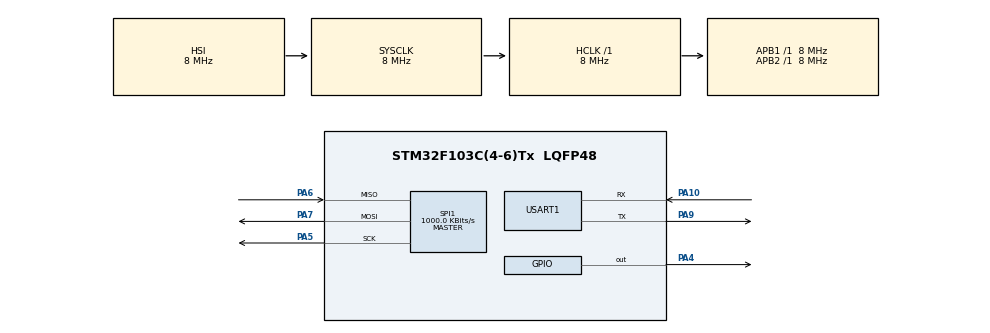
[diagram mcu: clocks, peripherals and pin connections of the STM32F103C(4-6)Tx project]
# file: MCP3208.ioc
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Mcu.Family=STM32F1
Mcu.Name=STM32F103C(4-6)Tx
Mcu.Package=LQFP48
NVIC.PriorityGroup=NVIC_PRIORITYGROUP_4
PA10.Mode=Asynchronous
PA10.Signal=USART1_RX
PA4.Signal=GPIO_Output
PA5.Mode=Full_Duplex_Master
PA5.Signal=SPI1_SCK
PA6.Mode=Full_Duplex_Master
PA6.Signal=SPI1_MISO
PA7.Mode=Full_Duplex_Master
PA7.Signal=SPI1_MOSI
PA9.Mode=Asynchronous
PA9.Signal=USART1_TX
ProjectManager.HeapSize=0x200
ProjectManager.StackSize=0x400
ProjectManager.TargetToolchain=STM32CubeIDE
RCC.AHBFreq_Value=8000000
RCC.APB1Freq_Value=8000000
RCC.APB1TimFreq_Value=8000000
RCC.APB2Freq_Value=8000000
RCC.APB2TimFreq_Value=8000000
RCC.HCLKFreq_Value=8000000
RCC.PLLMUL=RCC_PLL_MUL4
RCC.SYSCLKFreq_VALUE=8000000
RCC.USBFreq_Value=16000000
SPI1.BaudRatePrescaler=SPI_BAUDRATEPRESCALER_8
SPI1.CLKPhase=SPI_PHASE_1EDGE
SPI1.CLKPolarity=SPI_POLARITY_LOW
SPI1.CalculateBaudRate=1000.0 KBits/s
SPI1.Direction=SPI_DIRECTION_2LINES
SPI1.FirstBit=SPI_FIRSTBIT_MSB
SPI1.Mode=SPI_MODE_MASTER
SPI1.VirtualType=VM_MASTER
USART1.VirtualMode=VM_ASYNC
VP_SYS_VS_ND.Mode=No_Debug
board=custom

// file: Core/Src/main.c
/* USER CODE BEGIN Header */
/**
  ******************************************************************************
  * @file           : main.c
  * @brief          : Main program body
  ******************************************************************************
  * @attention
  *
  * Copyright (c) 2024 STMicroelectronics.
  * All rights reserved.
  *
  * This software is licensed under terms that can be found in the LICENSE file
  * in the root directory of this software component.
  * If no LICENSE file comes with this software, it is provided AS-IS.
  *
  ******************************************************************************
  */
/* USER CODE END Header */
#include "main.h"

/* USER CODE BEGIN Includes */
#include "mcp3208.h"
#include <stdio.h>
#include <string.h>
/* USER CODE END Includes */

/* USER CODE BEGIN PTD */
MCP3208_HandleTypeDef hmcp3208;

/* USER CODE END PTD */

SPI_HandleTypeDef hspi1;

UART_HandleTypeDef huart1;

/* USER CODE BEGIN PV */
#define VREF 2.5 // Reference voltage
#define ADC_RESOLUTION 4096  // 12-bit ADC

const float V_REF = 2.5f;    // Adjust based on your reference voltage
const float V_REF2 = 5.0f;    // Adjust based on your reference voltage

const int ADC_MAX_VALUE = 4095; // MCP3208 is a 12-bit ADC
const int ADC_MAX_VALUE2 = 1024; // MCP3208 is a 12-bit ADC

/* USER CODE END PV */

void SystemClock_Config(void);
static void MX_GPIO_Init(void);
static void MX_SPI1_Init(void);
static void MX_USART1_UART_Init(void);

/* USER CODE BEGIN 0 */
void print_uart(const char* str)
{
    HAL_UART_Transmit(&huart1, (uint8_t*)str, strlen(str), HAL_MAX_DELAY);
}

float adc_to_voltage(uint16_t adc_value)
{
    return (float)adc_value * VREF / ADC_RESOLUTION ;

}
/* USER CODE END 0 */

int main(void)
{

  /* MCU Configuration--------------------------------------------------------*/

  /* Reset of all peripherals, Initializes the Flash interface and the Systick. */
  HAL_Init();

  /* Configure the system clock */
  SystemClock_Config();

  /* Initialize all configured peripherals */
  MX_GPIO_Init();
  MX_SPI1_Init();
  MX_USART1_UART_Init();
  /* USER CODE BEGIN 2 */
  // Initialize MCP3208
     hmcp3208.hspi = &hspi1;
     hmcp3208.CS_GPIO_Port = GPIOA;
     hmcp3208.CS_Pin = GPIO_PIN_4;
     MCP3208_Init(&hmcp3208);

     char temp[10];
     int ctr = 0;

  /* USER CODE END 2 */

  /* Infinite loop */
  while (1)
  {

    /* USER CODE BEGIN 3 */
	  if (ctr == 0)
	  {
	      HAL_UART_Transmit(&huart1, (uint8_t*)"\n\r", 2, HAL_MAX_DELAY);
	      HAL_UART_Transmit(&huart1, (uint8_t*)"\n\r              Single Ended (V)           |    Differential (V)\n\r", 68, HAL_MAX_DELAY);
	      HAL_UART_Transmit(&huart1, (uint8_t*)"   0    1    2    3    4    5    6    7  |   0     1    2    3\n\r", 66, HAL_MAX_DELAY);
	      HAL_UART_Transmit(&huart1, (uint8_t*)"------------------------------------------------------------------------\n\r", 66, HAL_MAX_DELAY);
	      HAL_UART_Transmit(&huart1, (uint8_t*)"\n\r", 2, HAL_MAX_DELAY);
	  }

	  ctr++;
	  if (ctr == 10)
	  {
	      ctr = 0;
	  }

	  // Read single-ended values
	  for (int i = 0; i < 8; i++)
	  {
	      uint16_t value = MCP3208_AnalogRead(&hmcp3208, i);
	      float voltage = (value * V_REF) / ADC_MAX_VALUE; // Convert to voltage
	      sprintf(temp, "%5.2f", voltage);  // Format to 2 decimal places with 5 characters (including leading spaces)
	      HAL_UART_Transmit(&huart1, (uint8_t*)temp, strlen(temp), HAL_MAX_DELAY);
	  }
	  HAL_UART_Transmit(&huart1, (uint8_t*)" | ", 2, HAL_MAX_DELAY);

	  // Read differential values
	  for (int i = 0; i < 4; i++)
	  {
	      int16_t diff_value = MCP3208_AnalogReadDif(&hmcp3208, i);
	      float diff_voltage = (diff_value * V_REF) / ADC_MAX_VALUE; // Convert to voltage
	      sprintf(temp, "%5.2f ", diff_voltage); // Format to 2 decimal places with a single space after the value
	      HAL_UART_Transmit(&huart1, (uint8_t*)temp, strlen(temp), HAL_MAX_DELAY);
	  }
	  HAL_UART_Transmit(&huart1, (uint8_t*)"\r\n", 2, HAL_MAX_DELAY);
	  HAL_Delay(1000); // Delay for stability

  }
  /* USER CODE END 3 */
}

void SystemClock_Config(void)
{
  RCC_OscInitTypeDef RCC_OscInitStruct = {0};
  RCC_ClkInitTypeDef RCC_ClkInitStruct = {0};

  /** Initializes the RCC Oscillators according to the specified parameters
  * in the RCC_OscInitTypeDef structure.
  */
  RCC_OscInitStruct.OscillatorType = RCC_OSCILLATORTYPE_HSI;
  RCC_OscInitStruct.HSIState = RCC_HSI_ON;
  RCC_OscInitStruct.HSICalibrationValue = RCC_HSICALIBRATION_DEFAULT;
  RCC_OscInitStruct.PLL.PLLState = RCC_PLL_NONE;
  if (HAL_RCC_OscConfig(&RCC_OscInitStruct) != HAL_OK)
  {
    Error_Handler();
  }

  /** Initializes the CPU, AHB and APB buses clocks
  */
  RCC_ClkInitStruct.ClockType = RCC_CLOCKTYPE_HCLK|RCC_CLOCKTYPE_SYSCLK
                              |RCC_CLOCKTYPE_PCLK1|RCC_CLOCKTYPE_PCLK2;
  RCC_ClkInitStruct.SYSCLKSource = RCC_SYSCLKSOURCE_HSI;
  RCC_ClkInitStruct.AHBCLKDivider = RCC_SYSCLK_DIV1;
  RCC_ClkInitStruct.APB1CLKDivider = RCC_HCLK_DIV1;
  RCC_ClkInitStruct.APB2CLKDivider = RCC_HCLK_DIV1;

  if (HAL_RCC_ClockConfig(&RCC_ClkInitStruct, FLASH_LATENCY_0) != HAL_OK)
  {
    Error_Handler();
  }
}

static void MX_SPI1_Init(void)
{
  /* USER CODE BEGIN SPI1_Init 0 */
  // Additional user code can be added here, e.g., GPIO settings.
  /* USER CODE END SPI1_Init 0 */

  /* USER CODE BEGIN SPI1_Init 1 */
  // Further configurations can go here if needed.
  /* USER CODE END SPI1_Init 1 */

  /* SPI1 parameter configuration */
  hspi1.Instance = SPI1;
  hspi1.Init.Mode = SPI_MODE_MASTER;
  hspi1.Init.Direction = SPI_DIRECTION_2LINES;
  hspi1.Init.DataSize = SPI_DATASIZE_8BIT; // Change if needed
  hspi1.Init.CLKPolarity = SPI_POLARITY_LOW; // Match with your device
  hspi1.Init.CLKPhase = SPI_PHASE_1EDGE; // Match with your device
  hspi1.Init.NSS = SPI_NSS_SOFT; // Ensure proper CS handling in your code
  hspi1.Init.BaudRatePrescaler = SPI_BAUDRATEPRESCALER_8; // Check this value
  hspi1.Init.FirstBit = SPI_FIRSTBIT_MSB;
  hspi1.Init.TIMode = SPI_TIMODE_DISABLE;
  hspi1.Init.CRCCalculation = SPI_CRCCALCULATION_DISABLE;
  hspi1.Init.CRCPolynomial = 10; // Only needed if CRC is enabled
  if (HAL_SPI_Init(&hspi1) != HAL_OK)
  {
    Error_Handler(); // Ensure proper error handling here
  }

  /* USER CODE BEGIN SPI1_Init 2 */
  // Additional user code can be added here.
  /* USER CODE END SPI1_Init 2 */
}

static void MX_USART1_UART_Init(void)
{

  huart1.Instance = USART1;
  huart1.Init.BaudRate = 115200;
  huart1.Init.WordLength = UART_WORDLENGTH_8B;
  huart1.Init.StopBits = UART_STOPBITS_1;
  huart1.Init.Parity = UART_PARITY_NONE;
  huart1.Init.Mode = UART_MODE_TX_RX;
  huart1.Init.HwFlowCtl = UART_HWCONTROL_NONE;
  huart1.Init.OverSampling = UART_OVERSAMPLING_16;
  if (HAL_UART_Init(&huart1) != HAL_OK)
  {
    Error_Handler();
  }

}

static void MX_GPIO_Init(void)
{
  GPIO_InitTypeDef GPIO_InitStruct = {0};

  /* GPIO Ports Clock Enable */
  __HAL_RCC_GPIOA_CLK_ENABLE();

  /*Configure GPIO pin Output Level */
  HAL_GPIO_WritePin(GPIOA, GPIO_PIN_4, GPIO_PIN_RESET);

  /*Configure GPIO pin : PA4 */
  GPIO_InitStruct.Pin = GPIO_PIN_4;
  GPIO_InitStruct.Mode = GPIO_MODE_OUTPUT_PP;
  GPIO_InitStruct.Pull = GPIO_NOPULL;
  GPIO_InitStruct.Speed = GPIO_SPEED_FREQ_LOW;
  HAL_GPIO_Init(GPIOA, &GPIO_InitStruct);

}

void Error_Handler(void)
{
  __disable_irq();
  while (1)
  {
  }
}
